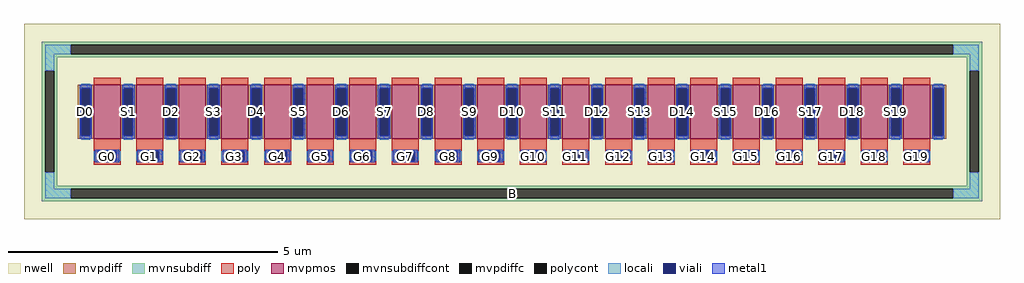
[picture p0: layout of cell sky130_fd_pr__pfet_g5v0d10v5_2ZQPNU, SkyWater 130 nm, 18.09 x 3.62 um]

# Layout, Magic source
magic
tech sky130A
magscale 1 2
<< nwell >>
rect -1809 -362 1809 362
<< mvpmos >>
rect -1551 -64 -1451 136
rect -1393 -64 -1293 136
rect -1235 -64 -1135 136
rect -1077 -64 -977 136
rect -919 -64 -819 136
rect -761 -64 -661 136
rect -603 -64 -503 136
rect -445 -64 -345 136
rect -287 -64 -187 136
rect -129 -64 -29 136
rect 29 -64 129 136
rect 187 -64 287 136
rect 345 -64 445 136
rect 503 -64 603 136
rect 661 -64 761 136
rect 819 -64 919 136
rect 977 -64 1077 136
rect 1135 -64 1235 136
rect 1293 -64 1393 136
rect 1451 -64 1551 136
<< mvpdiff >>
rect -1609 124 -1551 136
rect -1609 -52 -1597 124
rect -1563 -52 -1551 124
rect -1609 -64 -1551 -52
rect -1451 124 -1393 136
rect -1451 -52 -1439 124
rect -1405 -52 -1393 124
rect -1451 -64 -1393 -52
rect -1293 124 -1235 136
rect -1293 -52 -1281 124
rect -1247 -52 -1235 124
rect -1293 -64 -1235 -52
rect -1135 124 -1077 136
rect -1135 -52 -1123 124
rect -1089 -52 -1077 124
rect -1135 -64 -1077 -52
rect -977 124 -919 136
rect -977 -52 -965 124
rect -931 -52 -919 124
rect -977 -64 -919 -52
rect -819 124 -761 136
rect -819 -52 -807 124
rect -773 -52 -761 124
rect -819 -64 -761 -52
rect -661 124 -603 136
rect -661 -52 -649 124
rect -615 -52 -603 124
rect -661 -64 -603 -52
rect -503 124 -445 136
rect -503 -52 -491 124
rect -457 -52 -445 124
rect -503 -64 -445 -52
rect -345 124 -287 136
rect -345 -52 -333 124
rect -299 -52 -287 124
rect -345 -64 -287 -52
rect -187 124 -129 136
rect -187 -52 -175 124
rect -141 -52 -129 124
rect -187 -64 -129 -52
rect -29 124 29 136
rect -29 -52 -17 124
rect 17 -52 29 124
rect -29 -64 29 -52
rect 129 124 187 136
rect 129 -52 141 124
rect 175 -52 187 124
rect 129 -64 187 -52
rect 287 124 345 136
rect 287 -52 299 124
rect 333 -52 345 124
rect 287 -64 345 -52
rect 445 124 503 136
rect 445 -52 457 124
rect 491 -52 503 124
rect 445 -64 503 -52
rect 603 124 661 136
rect 603 -52 615 124
rect 649 -52 661 124
rect 603 -64 661 -52
rect 761 124 819 136
rect 761 -52 773 124
rect 807 -52 819 124
rect 761 -64 819 -52
rect 919 124 977 136
rect 919 -52 931 124
rect 965 -52 977 124
rect 919 -64 977 -52
rect 1077 124 1135 136
rect 1077 -52 1089 124
rect 1123 -52 1135 124
rect 1077 -64 1135 -52
rect 1235 124 1293 136
rect 1235 -52 1247 124
rect 1281 -52 1293 124
rect 1235 -64 1293 -52
rect 1393 124 1451 136
rect 1393 -52 1405 124
rect 1439 -52 1451 124
rect 1393 -64 1451 -52
rect 1551 124 1609 136
rect 1551 -52 1563 124
rect 1597 -52 1609 124
rect 1551 -64 1609 -52
<< mvpdiffc >>
rect -1597 -52 -1563 124
rect -1439 -52 -1405 124
rect -1281 -52 -1247 124
rect -1123 -52 -1089 124
rect -965 -52 -931 124
rect -807 -52 -773 124
rect -649 -52 -615 124
rect -491 -52 -457 124
rect -333 -52 -299 124
rect -175 -52 -141 124
rect -17 -52 17 124
rect 141 -52 175 124
rect 299 -52 333 124
rect 457 -52 491 124
rect 615 -52 649 124
rect 773 -52 807 124
rect 931 -52 965 124
rect 1089 -52 1123 124
rect 1247 -52 1281 124
rect 1405 -52 1439 124
rect 1563 -52 1597 124
<< mvnsubdiff >>
rect -1743 284 1743 296
rect -1743 250 -1635 284
rect 1635 250 1743 284
rect -1743 238 1743 250
rect -1743 188 -1685 238
rect -1743 -188 -1731 188
rect -1697 -188 -1685 188
rect 1685 188 1743 238
rect -1743 -238 -1685 -188
rect 1685 -188 1697 188
rect 1731 -188 1743 188
rect 1685 -238 1743 -188
rect -1743 -250 1743 -238
rect -1743 -284 -1635 -250
rect 1635 -284 1743 -250
rect -1743 -296 1743 -284
<< mvnsubdiffcont >>
rect -1635 250 1635 284
rect -1731 -188 -1697 188
rect 1697 -188 1731 188
rect -1635 -284 1635 -250
<< poly >>
rect -1551 136 -1451 162
rect -1393 136 -1293 162
rect -1235 136 -1135 162
rect -1077 136 -977 162
rect -919 136 -819 162
rect -761 136 -661 162
rect -603 136 -503 162
rect -445 136 -345 162
rect -287 136 -187 162
rect -129 136 -29 162
rect 29 136 129 162
rect 187 136 287 162
rect 345 136 445 162
rect 503 136 603 162
rect 661 136 761 162
rect 819 136 919 162
rect 977 136 1077 162
rect 1135 136 1235 162
rect 1293 136 1393 162
rect 1451 136 1551 162
rect -1551 -111 -1451 -64
rect -1551 -145 -1535 -111
rect -1467 -145 -1451 -111
rect -1551 -161 -1451 -145
rect -1393 -111 -1293 -64
rect -1393 -145 -1377 -111
rect -1309 -145 -1293 -111
rect -1393 -161 -1293 -145
rect -1235 -111 -1135 -64
rect -1235 -145 -1219 -111
rect -1151 -145 -1135 -111
rect -1235 -161 -1135 -145
rect -1077 -111 -977 -64
rect -1077 -145 -1061 -111
rect -993 -145 -977 -111
rect -1077 -161 -977 -145
rect -919 -111 -819 -64
rect -919 -145 -903 -111
rect -835 -145 -819 -111
rect -919 -161 -819 -145
rect -761 -111 -661 -64
rect -761 -145 -745 -111
rect -677 -145 -661 -111
rect -761 -161 -661 -145
rect -603 -111 -503 -64
rect -603 -145 -587 -111
rect -519 -145 -503 -111
rect -603 -161 -503 -145
rect -445 -111 -345 -64
rect -445 -145 -429 -111
rect -361 -145 -345 -111
rect -445 -161 -345 -145
rect -287 -111 -187 -64
rect -287 -145 -271 -111
rect -203 -145 -187 -111
rect -287 -161 -187 -145
rect -129 -111 -29 -64
rect -129 -145 -113 -111
rect -45 -145 -29 -111
rect -129 -161 -29 -145
rect 29 -111 129 -64
rect 29 -145 45 -111
rect 113 -145 129 -111
rect 29 -161 129 -145
rect 187 -111 287 -64
rect 187 -145 203 -111
rect 271 -145 287 -111
rect 187 -161 287 -145
rect 345 -111 445 -64
rect 345 -145 361 -111
rect 429 -145 445 -111
rect 345 -161 445 -145
rect 503 -111 603 -64
rect 503 -145 519 -111
rect 587 -145 603 -111
rect 503 -161 603 -145
rect 661 -111 761 -64
rect 661 -145 677 -111
rect 745 -145 761 -111
rect 661 -161 761 -145
rect 819 -111 919 -64
rect 819 -145 835 -111
rect 903 -145 919 -111
rect 819 -161 919 -145
rect 977 -111 1077 -64
rect 977 -145 993 -111
rect 1061 -145 1077 -111
rect 977 -161 1077 -145
rect 1135 -111 1235 -64
rect 1135 -145 1151 -111
rect 1219 -145 1235 -111
rect 1135 -161 1235 -145
rect 1293 -111 1393 -64
rect 1293 -145 1309 -111
rect 1377 -145 1393 -111
rect 1293 -161 1393 -145
rect 1451 -111 1551 -64
rect 1451 -145 1467 -111
rect 1535 -145 1551 -111
rect 1451 -161 1551 -145
<< polycont >>
rect -1535 -145 -1467 -111
rect -1377 -145 -1309 -111
rect -1219 -145 -1151 -111
rect -1061 -145 -993 -111
rect -903 -145 -835 -111
rect -745 -145 -677 -111
rect -587 -145 -519 -111
rect -429 -145 -361 -111
rect -271 -145 -203 -111
rect -113 -145 -45 -111
rect 45 -145 113 -111
rect 203 -145 271 -111
rect 361 -145 429 -111
rect 519 -145 587 -111
rect 677 -145 745 -111
rect 835 -145 903 -111
rect 993 -145 1061 -111
rect 1151 -145 1219 -111
rect 1309 -145 1377 -111
rect 1467 -145 1535 -111
<< locali >>
rect -1731 250 -1635 284
rect 1635 250 1731 284
rect -1731 188 -1697 250
rect 1697 188 1731 250
rect -1597 124 -1563 140
rect -1597 -68 -1563 -52
rect -1439 124 -1405 140
rect -1439 -68 -1405 -52
rect -1281 124 -1247 140
rect -1281 -68 -1247 -52
rect -1123 124 -1089 140
rect -1123 -68 -1089 -52
rect -965 124 -931 140
rect -965 -68 -931 -52
rect -807 124 -773 140
rect -807 -68 -773 -52
rect -649 124 -615 140
rect -649 -68 -615 -52
rect -491 124 -457 140
rect -491 -68 -457 -52
rect -333 124 -299 140
rect -333 -68 -299 -52
rect -175 124 -141 140
rect -175 -68 -141 -52
rect -17 124 17 140
rect -17 -68 17 -52
rect 141 124 175 140
rect 141 -68 175 -52
rect 299 124 333 140
rect 299 -68 333 -52
rect 457 124 491 140
rect 457 -68 491 -52
rect 615 124 649 140
rect 615 -68 649 -52
rect 773 124 807 140
rect 773 -68 807 -52
rect 931 124 965 140
rect 931 -68 965 -52
rect 1089 124 1123 140
rect 1089 -68 1123 -52
rect 1247 124 1281 140
rect 1247 -68 1281 -52
rect 1405 124 1439 140
rect 1405 -68 1439 -52
rect 1563 124 1597 140
rect 1563 -68 1597 -52
rect -1551 -145 -1535 -111
rect -1467 -145 -1451 -111
rect -1393 -145 -1377 -111
rect -1309 -145 -1293 -111
rect -1235 -145 -1219 -111
rect -1151 -145 -1135 -111
rect -1077 -145 -1061 -111
rect -993 -145 -977 -111
rect -919 -145 -903 -111
rect -835 -145 -819 -111
rect -761 -145 -745 -111
rect -677 -145 -661 -111
rect -603 -145 -587 -111
rect -519 -145 -503 -111
rect -445 -145 -429 -111
rect -361 -145 -345 -111
rect -287 -145 -271 -111
rect -203 -145 -187 -111
rect -129 -145 -113 -111
rect -45 -145 -29 -111
rect 29 -145 45 -111
rect 113 -145 129 -111
rect 187 -145 203 -111
rect 271 -145 287 -111
rect 345 -145 361 -111
rect 429 -145 445 -111
rect 503 -145 519 -111
rect 587 -145 603 -111
rect 661 -145 677 -111
rect 745 -145 761 -111
rect 819 -145 835 -111
rect 903 -145 919 -111
rect 977 -145 993 -111
rect 1061 -145 1077 -111
rect 1135 -145 1151 -111
rect 1219 -145 1235 -111
rect 1293 -145 1309 -111
rect 1377 -145 1393 -111
rect 1451 -145 1467 -111
rect 1535 -145 1551 -111
rect -1731 -250 -1697 -188
rect 1697 -250 1731 -188
rect -1731 -284 -1635 -250
rect 1635 -284 1731 -250
<< viali >>
rect -1597 -52 -1563 124
rect -1439 -52 -1405 124
rect -1281 -52 -1247 124
rect -1123 -52 -1089 124
rect -965 -52 -931 124
rect -807 -52 -773 124
rect -649 -52 -615 124
rect -491 -52 -457 124
rect -333 -52 -299 124
rect -175 -52 -141 124
rect -17 -52 17 124
rect 141 -52 175 124
rect 299 -52 333 124
rect 457 -52 491 124
rect 615 -52 649 124
rect 773 -52 807 124
rect 931 -52 965 124
rect 1089 -52 1123 124
rect 1247 -52 1281 124
rect 1405 -52 1439 124
rect 1563 -52 1597 124
rect -1535 -145 -1467 -111
rect -1377 -145 -1309 -111
rect -1219 -145 -1151 -111
rect -1061 -145 -993 -111
rect -903 -145 -835 -111
rect -745 -145 -677 -111
rect -587 -145 -519 -111
rect -429 -145 -361 -111
rect -271 -145 -203 -111
rect -113 -145 -45 -111
rect 45 -145 113 -111
rect 203 -145 271 -111
rect 361 -145 429 -111
rect 519 -145 587 -111
rect 677 -145 745 -111
rect 835 -145 903 -111
rect 993 -145 1061 -111
rect 1151 -145 1219 -111
rect 1309 -145 1377 -111
rect 1467 -145 1535 -111
<< metal1 >>
rect -1603 124 -1557 136
rect -1603 -52 -1597 124
rect -1563 -52 -1557 124
rect -1603 -64 -1557 -52
rect -1445 124 -1399 136
rect -1445 -52 -1439 124
rect -1405 -52 -1399 124
rect -1445 -64 -1399 -52
rect -1287 124 -1241 136
rect -1287 -52 -1281 124
rect -1247 -52 -1241 124
rect -1287 -64 -1241 -52
rect -1129 124 -1083 136
rect -1129 -52 -1123 124
rect -1089 -52 -1083 124
rect -1129 -64 -1083 -52
rect -971 124 -925 136
rect -971 -52 -965 124
rect -931 -52 -925 124
rect -971 -64 -925 -52
rect -813 124 -767 136
rect -813 -52 -807 124
rect -773 -52 -767 124
rect -813 -64 -767 -52
rect -655 124 -609 136
rect -655 -52 -649 124
rect -615 -52 -609 124
rect -655 -64 -609 -52
rect -497 124 -451 136
rect -497 -52 -491 124
rect -457 -52 -451 124
rect -497 -64 -451 -52
rect -339 124 -293 136
rect -339 -52 -333 124
rect -299 -52 -293 124
rect -339 -64 -293 -52
rect -181 124 -135 136
rect -181 -52 -175 124
rect -141 -52 -135 124
rect -181 -64 -135 -52
rect -23 124 23 136
rect -23 -52 -17 124
rect 17 -52 23 124
rect -23 -64 23 -52
rect 135 124 181 136
rect 135 -52 141 124
rect 175 -52 181 124
rect 135 -64 181 -52
rect 293 124 339 136
rect 293 -52 299 124
rect 333 -52 339 124
rect 293 -64 339 -52
rect 451 124 497 136
rect 451 -52 457 124
rect 491 -52 497 124
rect 451 -64 497 -52
rect 609 124 655 136
rect 609 -52 615 124
rect 649 -52 655 124
rect 609 -64 655 -52
rect 767 124 813 136
rect 767 -52 773 124
rect 807 -52 813 124
rect 767 -64 813 -52
rect 925 124 971 136
rect 925 -52 931 124
rect 965 -52 971 124
rect 925 -64 971 -52
rect 1083 124 1129 136
rect 1083 -52 1089 124
rect 1123 -52 1129 124
rect 1083 -64 1129 -52
rect 1241 124 1287 136
rect 1241 -52 1247 124
rect 1281 -52 1287 124
rect 1241 -64 1287 -52
rect 1399 124 1445 136
rect 1399 -52 1405 124
rect 1439 -52 1445 124
rect 1399 -64 1445 -52
rect 1557 124 1603 136
rect 1557 -52 1563 124
rect 1597 -52 1603 124
rect 1557 -64 1603 -52
rect -1547 -111 -1455 -105
rect -1547 -145 -1535 -111
rect -1467 -145 -1455 -111
rect -1547 -151 -1455 -145
rect -1389 -111 -1297 -105
rect -1389 -145 -1377 -111
rect -1309 -145 -1297 -111
rect -1389 -151 -1297 -145
rect -1231 -111 -1139 -105
rect -1231 -145 -1219 -111
rect -1151 -145 -1139 -111
rect -1231 -151 -1139 -145
rect -1073 -111 -981 -105
rect -1073 -145 -1061 -111
rect -993 -145 -981 -111
rect -1073 -151 -981 -145
rect -915 -111 -823 -105
rect -915 -145 -903 -111
rect -835 -145 -823 -111
rect -915 -151 -823 -145
rect -757 -111 -665 -105
rect -757 -145 -745 -111
rect -677 -145 -665 -111
rect -757 -151 -665 -145
rect -599 -111 -507 -105
rect -599 -145 -587 -111
rect -519 -145 -507 -111
rect -599 -151 -507 -145
rect -441 -111 -349 -105
rect -441 -145 -429 -111
rect -361 -145 -349 -111
rect -441 -151 -349 -145
rect -283 -111 -191 -105
rect -283 -145 -271 -111
rect -203 -145 -191 -111
rect -283 -151 -191 -145
rect -125 -111 -33 -105
rect -125 -145 -113 -111
rect -45 -145 -33 -111
rect -125 -151 -33 -145
rect 33 -111 125 -105
rect 33 -145 45 -111
rect 113 -145 125 -111
rect 33 -151 125 -145
rect 191 -111 283 -105
rect 191 -145 203 -111
rect 271 -145 283 -111
rect 191 -151 283 -145
rect 349 -111 441 -105
rect 349 -145 361 -111
rect 429 -145 441 -111
rect 349 -151 441 -145
rect 507 -111 599 -105
rect 507 -145 519 -111
rect 587 -145 599 -111
rect 507 -151 599 -145
rect 665 -111 757 -105
rect 665 -145 677 -111
rect 745 -145 757 -111
rect 665 -151 757 -145
rect 823 -111 915 -105
rect 823 -145 835 -111
rect 903 -145 915 -111
rect 823 -151 915 -145
rect 981 -111 1073 -105
rect 981 -145 993 -111
rect 1061 -145 1073 -111
rect 981 -151 1073 -145
rect 1139 -111 1231 -105
rect 1139 -145 1151 -111
rect 1219 -145 1231 -111
rect 1139 -151 1231 -145
rect 1297 -111 1389 -105
rect 1297 -145 1309 -111
rect 1377 -145 1389 -111
rect 1297 -151 1389 -145
rect 1455 -111 1547 -105
rect 1455 -145 1467 -111
rect 1535 -145 1547 -111
rect 1455 -151 1547 -145
<< labels >>
rlabel mvnsubdiffcont 0 -267 0 -267 0 B
port 1 nsew
rlabel mvpdiffc -1580 36 -1580 36 0 D0
port 2 nsew
rlabel polycont -1501 -128 -1501 -128 0 G0
port 3 nsew
rlabel mvpdiffc -1422 36 -1422 36 0 S1
port 4 nsew
rlabel polycont -1343 -128 -1343 -128 0 G1
port 5 nsew
rlabel mvpdiffc -1264 36 -1264 36 0 D2
port 6 nsew
rlabel polycont -1185 -128 -1185 -128 0 G2
port 7 nsew
rlabel mvpdiffc -1106 36 -1106 36 0 S3
port 8 nsew
rlabel polycont -1027 -128 -1027 -128 0 G3
port 9 nsew
rlabel mvpdiffc -948 36 -948 36 0 D4
port 10 nsew
rlabel polycont -869 -128 -869 -128 0 G4
port 11 nsew
rlabel mvpdiffc -790 36 -790 36 0 S5
port 12 nsew
rlabel polycont -711 -128 -711 -128 0 G5
port 13 nsew
rlabel mvpdiffc -632 36 -632 36 0 D6
port 14 nsew
rlabel polycont -553 -128 -553 -128 0 G6
port 15 nsew
rlabel mvpdiffc -474 36 -474 36 0 S7
port 16 nsew
rlabel polycont -395 -128 -395 -128 0 G7
port 17 nsew
rlabel mvpdiffc -316 36 -316 36 0 D8
port 18 nsew
rlabel polycont -237 -128 -237 -128 0 G8
port 19 nsew
rlabel mvpdiffc -158 36 -158 36 0 S9
port 20 nsew
rlabel polycont -79 -128 -79 -128 0 G9
port 21 nsew
rlabel mvpdiffc 0 36 0 36 0 D10
port 22 nsew
rlabel polycont 79 -128 79 -128 0 G10
port 23 nsew
rlabel mvpdiffc 158 36 158 36 0 S11
port 24 nsew
rlabel polycont 237 -128 237 -128 0 G11
port 25 nsew
rlabel mvpdiffc 316 36 316 36 0 D12
port 26 nsew
rlabel polycont 395 -128 395 -128 0 G12
port 27 nsew
rlabel mvpdiffc 474 36 474 36 0 S13
port 28 nsew
rlabel polycont 553 -128 553 -128 0 G13
port 29 nsew
rlabel mvpdiffc 632 36 632 36 0 D14
port 30 nsew
rlabel polycont 711 -128 711 -128 0 G14
port 31 nsew
rlabel mvpdiffc 790 36 790 36 0 S15
port 32 nsew
rlabel polycont 869 -128 869 -128 0 G15
port 33 nsew
rlabel mvpdiffc 948 36 948 36 0 D16
port 34 nsew
rlabel polycont 1027 -128 1027 -128 0 G16
port 35 nsew
rlabel mvpdiffc 1106 36 1106 36 0 S17
port 36 nsew
rlabel polycont 1185 -128 1185 -128 0 G17
port 37 nsew
rlabel mvpdiffc 1264 36 1264 36 0 D18
port 38 nsew
rlabel polycont 1343 -128 1343 -128 0 G18
port 39 nsew
rlabel mvpdiffc 1422 36 1422 36 0 S19
port 40 nsew
rlabel polycont 1501 -128 1501 -128 0 G19
port 41 nsew
<< properties >>
string FIXED_BBOX -1714 -267 1714 267
string gencell sky130_fd_pr__pfet_g5v0d10v5
string library sky130
string parameters w 1.0 l 0.5 m 1 nf 20 diffcov 100 polycov 100 guard 1 glc 1 grc 1 gtc 1 gbc 1 tbcov 100 rlcov 100 topc 0 botc 1 poverlap 0 doverlap 1 lmin 0.50 wmin 0.42 class mosfet compatible {sky130_fd_pr__pfet_01v8  sky130_fd_pr__pfet_01v8_lvt sky130_fd_pr__pfet_01v8_hvt  sky130_fd_pr__pfet_g5v0d10v5} full_metal 1 viasrc 100 viadrn 100 viagate 100 viagb 0 viagr 0 viagl 0 viagt 0 doports 1
<< end >>
